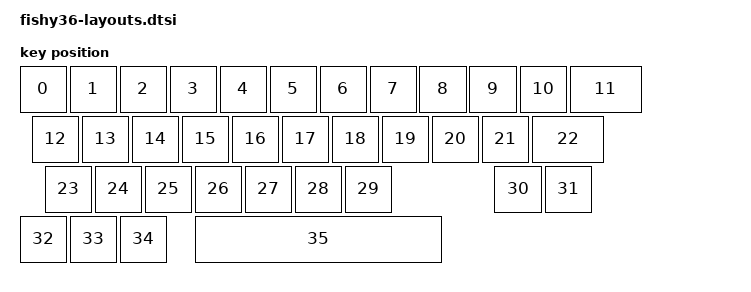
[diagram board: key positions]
#include <physical_layouts.dtsi>

/ {
    default_layout: default_layout {
        compatible = "zmk,physical-layout";
        display-name = "Default Layout";
        transform = <&default_transform>;
        kscan = <&kscan>;

        keys
        //                          w    h     x     y  rot  rx  ry
        // Row 0 (12 keys): Esc Q W E R T Y U I O P Backspace
            = <&key_physical_attrs 100 100     0     0  0 0 0>  // Esc
            , <&key_physical_attrs 100 100   100     0  0 0 0>  // Q
            , <&key_physical_attrs 100 100   200     0  0 0 0>  // W
            , <&key_physical_attrs 100 100   300     0  0 0 0>  // E
            , <&key_physical_attrs 100 100   400     0  0 0 0>  // R
            , <&key_physical_attrs 100 100   500     0  0 0 0>  // T
            , <&key_physical_attrs 100 100   600     0  0 0 0>  // Y
            , <&key_physical_attrs 100 100   700     0  0 0 0>  // U
            , <&key_physical_attrs 100 100   800     0  0 0 0>  // I
            , <&key_physical_attrs 100 100   900     0  0 0 0>  // O
            , <&key_physical_attrs 100 100  1000     0  0 0 0>  // P
            , <&key_physical_attrs 150 100  1100     0  0 0 0>  // Backspace (1.5u)
        // Row 1 (11 keys): A S D F G H J K L Ñ Enter — stagger +25
            , <&key_physical_attrs 100 100    25   100  0 0 0>  // A
            , <&key_physical_attrs 100 100   125   100  0 0 0>  // S
            , <&key_physical_attrs 100 100   225   100  0 0 0>  // D
            , <&key_physical_attrs 100 100   325   100  0 0 0>  // F
            , <&key_physical_attrs 100 100   425   100  0 0 0>  // G
            , <&key_physical_attrs 100 100   525   100  0 0 0>  // H
            , <&key_physical_attrs 100 100   625   100  0 0 0>  // J
            , <&key_physical_attrs 100 100   725   100  0 0 0>  // K
            , <&key_physical_attrs 100 100   825   100  0 0 0>  // L
            , <&key_physical_attrs 100 100   925   100  0 0 0>  // Ñ
            , <&key_physical_attrs 150 100  1025   100  0 0 0>  // Enter (1.5u)
        // Row 2 (9 keys): Z X C V B N M Layer+ Layer- — stagger +50
            , <&key_physical_attrs 100 100    50   200  0 0 0>  // Z
            , <&key_physical_attrs 100 100   150   200  0 0 0>  // X
            , <&key_physical_attrs 100 100   250   200  0 0 0>  // C
            , <&key_physical_attrs 100 100   350   200  0 0 0>  // V
            , <&key_physical_attrs 100 100   450   200  0 0 0>  // B
            , <&key_physical_attrs 100 100   550   200  0 0 0>  // N
            , <&key_physical_attrs 100 100   650   200  0 0 0>  // M
            , <&key_physical_attrs 100 100   950   200  0 0 0>  // Layer+
            , <&key_physical_attrs 100 100  1050   200  0 0 0>  // Layer-
        // Row 3 (4 keys): Shift Ctrl Super Space
            , <&key_physical_attrs 100 100     0   300  0 0 0>  // Shift
            , <&key_physical_attrs 100 100   100   300  0 0 0>  // Ctrl
            , <&key_physical_attrs 100 100   200   300  0 0 0>  // Super
            , <&key_physical_attrs 500 100   350   300  0 0 0>  // Space (5u wide)
            ;
    };
};
